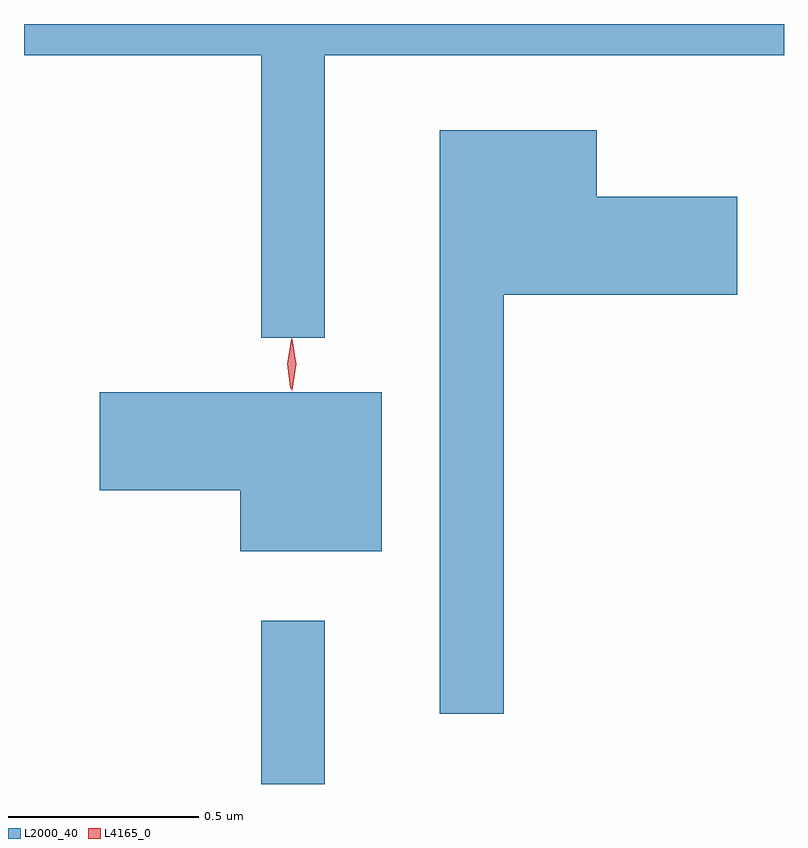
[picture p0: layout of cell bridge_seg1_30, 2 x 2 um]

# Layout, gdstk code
import gdstk
lib = gdstk.Library(unit=1e-6, precision=1e-09)
def R(c, l, rs):  # rectangles x0, y0, x1, y1
    for r in rs: c.add(gdstk.rectangle(r[:2], r[2:], *l))
def P(c, l, *ps):  # polygons
    for p in ps: c.add(gdstk.Polygon(p, *l))
L2000_40 = (2000, 40)
L4165_0 = (4165, 0)

bridge_seg1_30 = lib.new_cell('bridge_seg1_30')
R(bridge_seg1_30, L2000_40, [(1643.921,842.158,1644.089,842.588)])
P(bridge_seg1_30, L2000_40, [(1644.089,844.076),(1645.297,844.076),(1645.297,844.158),(1643.297,844.158),(1643.297,844.076),(1643.921,844.076),(1643.921,843.333),(1644.089,843.333)],
  [(1644.559,843.446),(1645.174,843.446),(1645.174,843.704),(1644.804,843.704),(1644.804,843.879),(1644.391,843.879),(1644.391,842.343),(1644.559,842.343)],
  [(1644.239,843.189),(1643.496,843.189),(1643.496,842.931),(1643.866,842.931),(1643.866,842.771),(1644.239,842.771)])
P(bridge_seg1_30, L4165_0, [(1643.999,843.2),(1643.998,843.201),(1643.99,843.264),(1644,843.326),(1644,843.327),(1644.001,843.326),(1644.01,843.263),(1643.999,843.201)],
  [(1644.002,843.194),(1643.993,843.262),(1644.002,843.33),(1644.003,843.33),(1644.003,843.33),(1644.013,843.262),(1644.003,843.194),(1644.003,843.194)])

lib.write_gds('bridge_seg1_30.gds')
